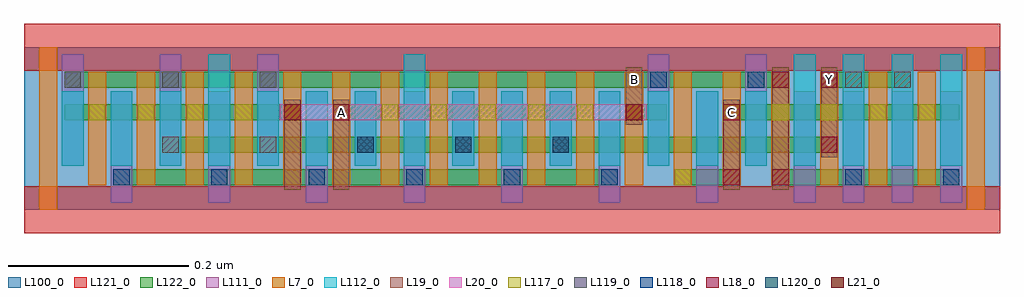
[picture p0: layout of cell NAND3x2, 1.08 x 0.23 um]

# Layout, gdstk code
import gdstk
lib = gdstk.Library(unit=1e-6, precision=2.5e-10)
def R(c, l, rs):  # rectangles x0, y0, x1, y1
    for r in rs: c.add(gdstk.rectangle(r[:2], r[2:], *l))
def A(c, l, x, y, w, h, nx, ny, dx, dy):  # array of equal rectangles
    R(c, l, [(x+i*dx, y+j*dy, x+i*dx+w, y+j*dy+h) for i in range(nx) for j in range(ny)])
L7_0 = (7, 0)
L18_0 = (18, 0)
L19_0 = (19, 0)
L20_0 = (20, 0)
L21_0 = (21, 0)
L100_0 = (100, 0)
L111_0 = (111, 0)
L112_0 = (112, 0)
L117_0 = (117, 0)
L118_0 = (118, 0)
L119_0 = (119, 0)
L120_0 = (120, 0)
L121_0 = (121, 0)
L122_0 = (122, 0)

nand3x2 = lib.new_cell('NAND3x2')
A(nand3x2, L7_0, 0.071, 0.027, 0.02, 0.126, 18, 1, 0.054, 0)
R(nand3x2, L7_0, [(0.017,0,0.037,0.18), (1.043,0,1.063,0.18)])
R(nand3x2, L18_0, [(0.774,0.027,0.792,0.045), (0.828,0.027,0.846,0.045), (0.882,0.063,0.9,0.081), (0.288,0.099,0.306,0.117), (0.342,0.099,0.36,0.117), (0.666,0.099,0.684,0.117), (0.774,0.099,0.792,0.117), (0.828,0.135,0.846,0.153), (0.882,0.135,0.9,0.153)])
R(nand3x2, L19_0, [(0.288,0.022,0.306,0.122), (0.342,0.022,0.36,0.122), (0.774,0.022,0.792,0.122), (0.828,0.022,0.846,0.158), (0.882,0.058,0.9,0.158), (0.666,0.094,0.684,0.158)])
R(nand3x2, L20_0, [(0.283,0.099,0.689,0.117)])
R(nand3x2, L21_0, [(0.288,0.099,0.306,0.117), (0.666,0.099,0.684,0.117)])
R(nand3x2, L100_0, [(0,0,1.08,0.18)])
A(nand3x2, L111_0, 0.096, 0.008, 0.024, 0.123, 8, 1, 0.108, 0)
A(nand3x2, L111_0, 0.906, 0.008, 0.024, 0.123, 3, 1, 0.054, 0)
A(nand3x2, L111_0, 0.042, 0.049, 0.024, 0.123, 3, 1, 0.108, 0)
A(nand3x2, L111_0, 0.366, 0.049, 0.024, 0.082, 3, 1, 0.108, 0)
R(nand3x2, L111_0, [(0.69,0.049,0.714,0.172), (0.798,0.049,0.822,0.172)])
A(nand3x2, L112_0, 0.042, 0.049, 0.024, 0.082, 3, 1, 0.054, 0)
A(nand3x2, L112_0, 0.258, 0.049, 0.024, 0.082, 3, 1, 0.054, 0)
A(nand3x2, L112_0, 0.474, 0.049, 0.024, 0.082, 7, 1, 0.054, 0)
A(nand3x2, L112_0, 0.852, 0.049, 0.024, 0.123, 4, 1, 0.054, 0)
R(nand3x2, L112_0, [(0.204,0.049,0.228,0.172), (0.42,0.049,0.444,0.172)])
A(nand3x2, L117_0, 0.072, 0.099, 0.018, 0.018, 12, 1, 0.054, 0)
A(nand3x2, L117_0, 0.774, 0.099, 0.018, 0.018, 5, 1, 0.054, 0)
R(nand3x2, L117_0, [(0.72,0.027,0.738,0.045)])
A(nand3x2, L118_0, 0.099, 0.027, 0.018, 0.018, 6, 1, 0.108, 0)
R(nand3x2, L118_0, [(0.909,0.027,0.927,0.045), (1.017,0.027,1.035,0.045), (0.693,0.135,0.711,0.153), (0.801,0.135,0.819,0.153)])
A(nand3x2, L119_0, 0.153, 0.063, 0.018, 0.018, 5, 1, 0.108, 0)
A(nand3x2, L119_0, 0.045, 0.135, 0.018, 0.018, 3, 1, 0.108, 0)
R(nand3x2, L119_0, [(0.909,0.135,0.927,0.153), (0.963,0.135,0.981,0.153)])
A(nand3x2, L120_0, 0.369, 0.063, 0.018, 0.018, 3, 1, 0.108, 0)
R(nand3x2, L121_0, [(0,-0.026,1.08,0.026), (0,0.154,1.08,0.206)])
R(nand3x2, L122_0, [(0.099,0.027,0.657,0.045), (0.72,0.027,0.792,0.045), (0.828,0.027,1.035,0.045), (0.153,0.063,0.9,0.081), (0.045,0.099,0.306,0.117), (0.342,0.099,0.63,0.117), (0.666,0.099,0.711,0.117), (0.774,0.099,1.035,0.117), (0.045,0.135,0.846,0.153), (0.882,0.135,0.981,0.153)])
nand3x2.add(gdstk.Label('Y', (0.891,0.144), layer=19, texttype=251))
nand3x2.add(gdstk.Label('C', (0.783,0.108), layer=19, texttype=251))
nand3x2.add(gdstk.Label('B', (0.675,0.144), layer=19, texttype=251))
nand3x2.add(gdstk.Label('A', (0.351,0.108), layer=19, texttype=251))

lib.write_gds('NAND3x2.gds')
